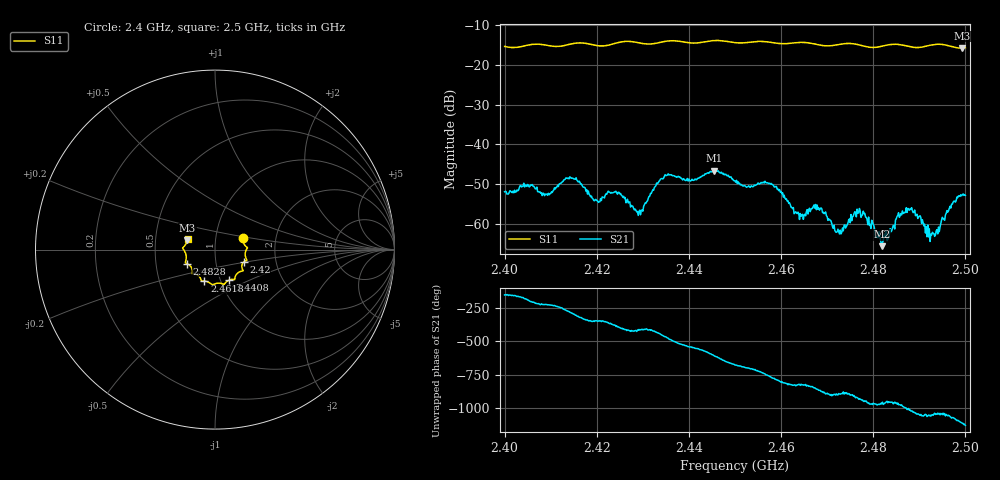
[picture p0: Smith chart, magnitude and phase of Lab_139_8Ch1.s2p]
# Hz S RI R 50
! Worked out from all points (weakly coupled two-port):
!   601 points, 2.4 GHz to 2.5 GHz, reference 50 ohm
!   highest |S21| = -46.55 dB at 2.4455 GHz (marker M1); lowest = -65.5 dB at 2.4818 GHz (marker M2)
!   lowest |S11| = -15.8 dB at 2.4993 GHz (marker M3), VSWR 1.39, Z = 36.5 + j3.85 ohm
!   |S11| at or under -10 dB: start of sweep to end of sweep
!   S12 and S22 are empty: the file has one direction only
!   S11 on the Smith chart (normalised r, x): 2.4 GHz: 1.36, +0.18; 2.42 GHz: 1.36, -0.20; 2.4408 GHz: 1.10, -0.39; 2.4618 GHz: 0.84, -0.30; 2.4828 GHz: 0.72, -0.12; 2.5 GHz: 0.73, +0.09
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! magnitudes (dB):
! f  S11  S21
! 2.4 GHz  -15.4  -51.8
! 2.4167 GHz  -14.5  -49.9
! 2.42 GHz  -15.2  -54.1
! 2.4243 GHz  -14.5  -52.2
! 2.4295 GHz  -14.6  -57.6
! 2.4333 GHz  -14.5  -49.6
! 2.4408 GHz  -14.6  -48.9
! 2.4455 GHz  -13.9  -46.6
! 2.45 GHz  -14.5  -49.2
! 2.4578 GHz  -14.4  -49.8
! 2.4618 GHz  -14.6  -54.7
! 2.4645 GHz  -14.4  -57.6
! 2.4667 GHz  -14.6  -56.0
! 2.4725 GHz  -14.9  -61.9
! 2.4775 GHz  -15.2  -57.9
! 2.4818 GHz  -15.4  -65.5
! 2.4828 GHz  -15.1  -61.8
! 2.4833 GHz  -15.0  -63.4
! 2.488 GHz  -15.5  -56.2
! 2.4928 GHz  -15.0  -62.0
! 2.4993 GHz  -15.8  -52.6
! 2.5 GHz  -15.7  -52.8
